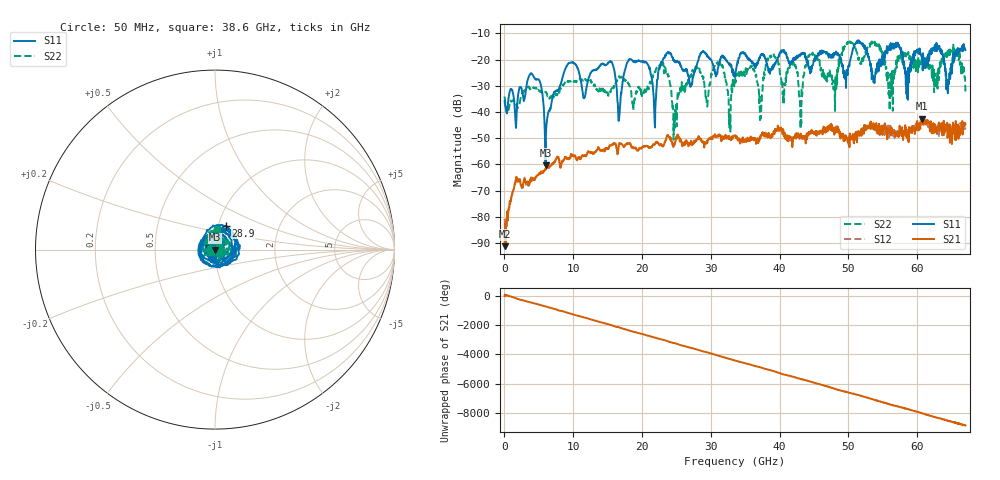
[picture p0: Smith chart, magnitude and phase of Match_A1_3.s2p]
#  HZ  S  MA  R  50.00
! Rohde & Schwarz ZVA67 4Ports - Version 4.11 - 1305.7002k04 SN: 101051
! Date: 2023-05-31 11:12:48
! Measurements: S11 S21 S12 S22
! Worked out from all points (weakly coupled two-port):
!   1340 points, 50 MHz to 67 GHz, reference 50 ohm
!   highest |S21| = -42.58 dB at 60.65 GHz (marker M1); lowest = -91.3 dB at 50 MHz (marker M2)
!   lowest |S11| = -60.4 dB at 6 GHz (marker M3), VSWR 1.00, Z = 49.9 - j0.000677 ohm
!   |S11| at or under -10 dB: start of sweep to end of sweep
!   |S22| runs from -50.5 to -12.9 dB; largest |S21 - S12| = 0.0033
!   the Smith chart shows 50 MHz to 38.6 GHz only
!   S11 on the Smith chart (normalised r, x): 50 MHz: 0.97, +0.00; 28.9 GHz: 1.08, +0.30; 38.6 GHz: 0.97, -0.10
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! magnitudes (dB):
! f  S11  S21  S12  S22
! 50 MHz  -35.9  -91.3  -80.8  -34.1
! 4 GHz  -25.3  -65.2  -65.3  -31.2
! 6 GHz  -60.4  -62.0  -61.8  -32.5
! 9.3 GHz  -21.5  -58.1  -58.0  -28.2
! 11.25 GHz  -30.1  -56.9  -56.9  -27.5
! 15.45 GHz  -20.9  -52.7  -52.8  -32.5
! 16.7 GHz  -41.9  -52.3  -51.9  -26.3
! 18.8 GHz  -20.5  -53.9  -53.8  -36.3
! 22.4 GHz  -24.0  -51.8  -52.0  -22.5
! 24.75 GHz  -20.7  -52.1  -52.1  -46.2
! 28.9 GHz  -16.7  -51.3  -51.7  -27.4
! 33.55 GHz  -26.0  -49.1  -49.2  -27.0
! 37.25 GHz  -18.1  -49.2  -49.2  -42.6
! 38.6 GHz  -25.4  -49.3  -49.4  -18.6
! 43.05 GHz  -17.7  -48.2  -49.6  -46.4
! 44.7 GHz  -23.4  -47.4  -47.8  -17.5
! 47.95 GHz  -18.1  -48.7  -46.8  -31.1
! 49.75 GHz  -23.9  -49.6  -49.7  -14.1
! 53.65 GHz  -28.7  -44.3  -45.6  -13.3
! 55.85 GHz  -16.3  -46.9  -48.7  -33.4
! 60.65 GHz  -18.9  -42.6  -43.2  -19.9
! 67 GHz  -16.3  -44.6  -46.8  -32.2
